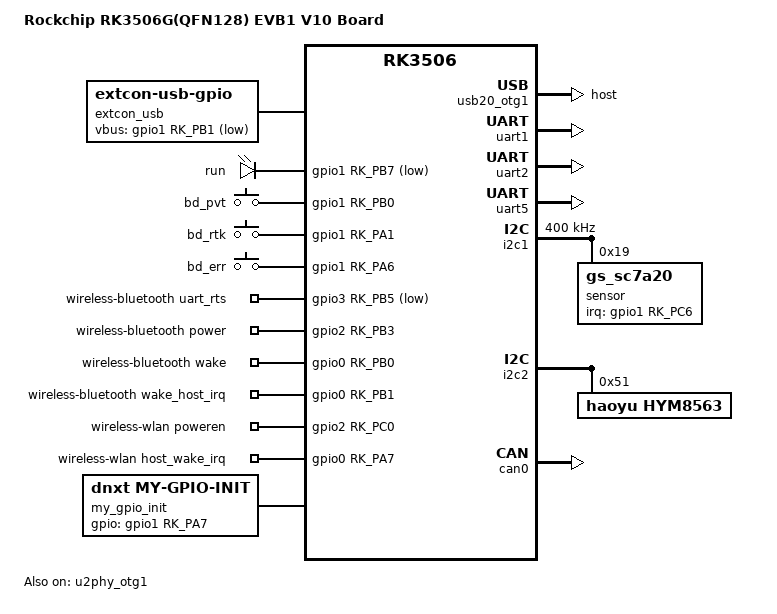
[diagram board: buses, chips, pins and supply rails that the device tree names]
// SPDX-License-Identifier: (GPL-2.0+ OR MIT)
/*
 * Copyright (c) 2024 Rockchip Electronics Co., Ltd.
 */

/dts-v1/;

#include <dt-bindings/sensor-dev.h>

#include "rk3506-my-base-nand.dtsi"

/ {
	model = "Rockchip RK3506G(QFN128) EVB1 V10 Board";
	compatible = "rockchip,rk3506g-evb1-v10", "rockchip,rk3506";

	extcon_usb: extcon-usb {
		compatible = "linux,extcon-usb-gpio";
		vbus-gpio = <&gpio1 RK_PB1 GPIO_ACTIVE_LOW>;
		pinctrl-names = "default";
		pinctrl-0 = <&usb_extcon_vbus>;
		status = "okay";
	};

	leds {
		compatible = "gpio-leds";
		status = "okay";

		heart_led: heart_led {
			label = "run";
			gpios = <&gpio1 RK_PB7 GPIO_ACTIVE_LOW>;
			linux,default-trigger = "heartbeat";
			default-state = "off";
		};
	};

	gpio_keys: gpio-keys {
		compatible = "gpio-keys";
		pinctrl-names = "default";
		pinctrl-0 = <&key_bd>;
		status = "okay";

		bd_pvt: bd_pvt {
			label = "bd_pvt";
			gpios = <&gpio1 RK_PB0 GPIO_ACTIVE_HIGH>;
			linux,code = <KEY_1>;
			debounce-interval = <20>;
			wakeup-source;
		};

		bd_rtk: bd_rtk {
			label = "bd_rtk";
			gpios = <&gpio1 RK_PA1 GPIO_ACTIVE_HIGH>;
			linux,code = <KEY_2>;
			debounce-interval = <20>;
			wakeup-source;
		};

		bd_err: bd_err {
			label = "bd_err";
			gpios = <&gpio1 RK_PA6 GPIO_ACTIVE_HIGH>;
			linux,code = <KEY_3>;
			debounce-interval = <20>;
			wakeup-source;
		};
	};

	wireless-bluetooth {
		compatible = "bluetooth-platdata";
		uart_rts_gpios = <&gpio3 RK_PB5 GPIO_ACTIVE_LOW>;
		pinctrl-names = "default", "rts_gpio";
		pinctrl-0 = <&uart5m0_rtsn_pins>;
		pinctrl-1 = <&uart5_gpios>;
		BT,power_gpio = <&gpio2 RK_PB3 GPIO_ACTIVE_HIGH>;
		BT,wake_gpio =  <&gpio0 RK_PB0 GPIO_ACTIVE_HIGH>;
		BT,wake_host_irq = <&gpio0 RK_PB1 GPIO_ACTIVE_HIGH>;
		status = "okay";
	};

	wireless-wlan {
		compatible = "wlan-platdata";
		rockchip,grf = <&grf>;
		pinctrl-names = "default";
		pinctrl-0 = <&wifi_wake_host>;
		WIFI,poweren_gpio = <&gpio2 RK_PC0 GPIO_ACTIVE_HIGH>;
		WIFI,host_wake_irq = <&gpio0 RK_PA7 GPIO_ACTIVE_HIGH>;
		status = "okay";
	};

	my_gpio_init: my-gpio-init {
		compatible = "dnxt,my-gpio-init";
		status = "okay";

		init-delay-ms = <0>;

		gpios = <
			&gpio1 RK_PA7 GPIO_ACTIVE_HIGH
		>;

		gpio-names = "gps_rst";

		gpio-init-states = <0>;

		// format: <gpio_index delay_ms>
		gpio-delays = <
			0   50      // gps_rst在全局延时后50ms初始化
		>;

		// format: <gpio_index delay_ms target_state>
		gpio-state-delays = <
			0   10   1   // gps_rst在初始化10ms保持高电平
		>;
	};
};

&pinctrl {
	usb {
		usb_extcon_vbus: usb-extcon-vbus {
			rockchip,pins = <1 RK_PB1 RK_FUNC_GPIO &pcfg_pull_none>;
		};
	};

	sensor {
		sensor_gpio: sensor-gpio {
			rockchip,pins = <1 RK_PC6 RK_FUNC_GPIO &pcfg_pull_none>;
		};
	};

	btn_keys {
		key_bd: key-bd {
			rockchip,pins = <1 RK_PB0 RK_FUNC_GPIO &pcfg_pull_none>,
			                <1 RK_PA1 RK_FUNC_GPIO &pcfg_pull_none>,
			                <1 RK_PA6 RK_FUNC_GPIO &pcfg_pull_none>;
		};
	};

	wireless-bluetooth {
		uart5_gpios: uart5-gpios {
			rockchip,pins = <3 RK_PB5 RK_FUNC_GPIO &pcfg_pull_none>;
		};
	};

	wireless-wlan {
		wifi_wake_host: wifi-wake-host {
			rockchip,pins = <2 RK_PC0 RK_FUNC_GPIO &pcfg_pull_up>,
			                <0 RK_PA7 RK_FUNC_GPIO &pcfg_pull_up>;
		};
	};
};

&usb2phy {
	extcon = <&extcon_usb>;
};

&u2phy_otg0 {
	rockchip,gpio-vbus-det;
};

&u2phy_otg1 {
	status = "okay";
};

&usb20_otg1 {
	dr_mode = "host";
	status = "okay";
};

&uart1 {
	pinctrl-names = "default";
	pinctrl-0 = <&rm_io28_uart1_rx &rm_io27_uart1_tx>;
	dma-names = "tx", "rx";
	status = "okay";
};

&uart2 {
	pinctrl-names = "default";
	pinctrl-0 = <&rm_io2_uart2_rx &rm_io0_uart2_tx>;
	dma-names = "tx", "rx";
	status = "okay";
};

&uart5 {
	pinctrl-0 = <&uart5m0_xfer_pins &uart5m0_ctsn_pins>;
	status = "okay";
};

&i2c1 {
	clock-frequency = <400000>;
	i2c-scl-rising-time-ns = <144>;
	i2c-scl-falling-time-ns = <4>;
	pinctrl-names = "default";
	pinctrl-0 = <&rm_io25_i2c1_scl &rm_io26_i2c1_sda>;
	status = "okay";

	sensor@19 {
		status = "okay";
		compatible = "gs_sc7a20";
		reg = <0x19>;
		type = <SENSOR_TYPE_ACCEL>;
		irq_enable = <0>;
		pinctrl-names = "default";
		pinctrl-0 = <&sensor_gpio>;
		irq-gpio = <&gpio1 RK_PC6 IRQ_TYPE_EDGE_RISING>;
		poll_delay_ms = <10>;
		layout = <1>;
	};
};

&i2c2 {
	pinctrl-names = "default";
	pinctrl-0 = <&rm_io4_i2c2_scl &rm_io5_i2c2_sda>;
	status = "okay";

	hym8563: hym8563@51 {
			compatible = "haoyu,hym8563";
			reg = <0x51>;
			// #clock-cells = <0>;
			// clock-frequency = <32768>;
			// clock-output-names = "hym8563";
			// pinctrl-names = "default";
			// pinctrl-0 = <&hym8563_int>;
			// interrupt-parent = <&gpio0>;
			// interrupts = <RK_PC0 IRQ_TYPE_LEVEL_LOW>;

			wakeup-source;
	};
};

&can0 {
	pinctrl-names = "default";
	pinctrl-0 = <&rm_io19_can0_tx &rm_io20_can0_rx>;
	rockchip,rx-max-data = <18>;
	status = "okay";
};
